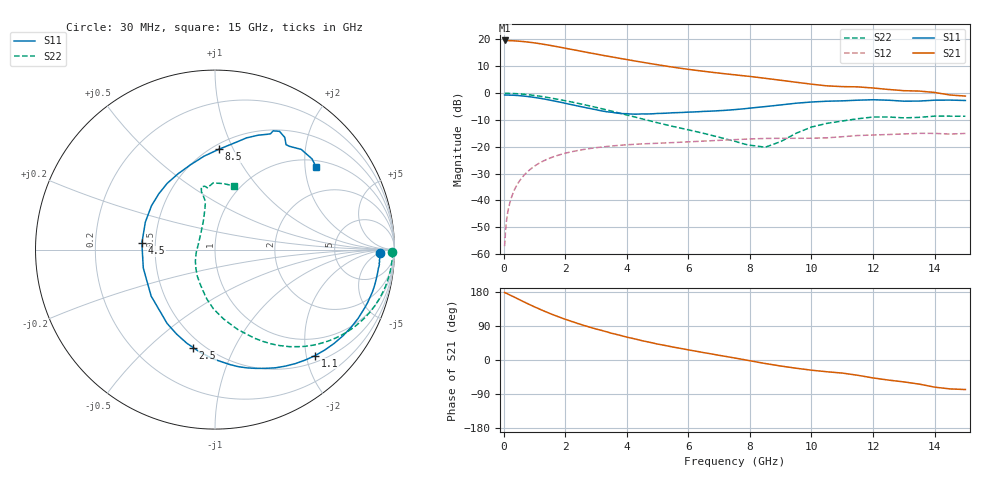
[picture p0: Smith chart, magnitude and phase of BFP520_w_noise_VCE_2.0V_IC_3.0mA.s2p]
! Infineon Technologies  Discrete & RF Semiconductors
! BFP520
! VCE =  2.0 V,  IC =  3.0 mA
! Common Emitter S-Parameters:  Oct 2015
# GHz  S  MA  R  50
!  f  S11  S21  S12  S22
! GHz  MAG  ANG  MAG  ANG  MAG  ANG  MAG  ANG
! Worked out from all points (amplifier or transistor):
!   109 points, 30 MHz to 15 GHz, reference 50 ohm
!   highest |S21| = 19.6 dB at 30 MHz (marker M1)
!   |S21| within 3 dB of that: start of sweep to 2.05 GHz
!   unconditionally stable (mu >= 1): 4.702 GHz to end of sweep
!   at 450 MHz: K = 0.08, MSG = 26.6 dB, |S12| = -33.9 dB
!   at 4 GHz: K = 0.86, MSG = 15.9 dB, |S12| = -19.3 dB
!   at 15 GHz: K = 1.51, MAG = 2.7 dB, |S12| = -15.0 dB
!   lowest NFmin = 1.02 dB at 900 MHz
!   S11 on the Smith chart (normalised r, x): 30 MHz: 22, -6; 1.1 GHz: 0.63, -2.17; 2.5 GHz: 0.44, -0.70; 4.5 GHz: 0.42, +0.04; 8.5 GHz: 0.54, +0.88; 15 GHz: 1.18, +2.30
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0.03  0.9195 -1.3  9.563 178.3  0.0014 78.8  0.9877 -0.8
0.06  0.9192 -2.5  9.48 177.0  0.0028 79.7  0.9884 -1.6
0.15  0.9165 -6.4  9.487 173.5  0.0068 84.5  0.9874 -4.1
0.5  0.8949 -21.3  9.26 159.7  0.0224 78.4  0.9668 -13.7
0.8  0.8594 -34.0  8.902 147.8  0.0353 71.8  0.9326 -21.7
1.1  0.8125 -46.6  8.448 136.7  0.0473 65.4  0.8862 -29.3
1.4  0.7588 -58.8  7.923 126.2  0.058 59.2  0.8328 -36.3
1.7  0.7005 -70.9  7.385 116.5  0.0673 53.5  0.7766 -42.8
2.2  0.6098 -90.8  6.52 101.9  0.0804 45.1  0.6827 -52.4
2.5  0.559 -102.6  6.044 94.0  0.0868 40.5  0.6279 -57.6
2.6  0.5448 -106.7  5.895 91.4  0.0889 39.1  0.6102 -59.3
3  0.4903 -123.0  5.341 81.8  0.096 33.8  0.5412 -65.9
3.5  0.44 -144.0  4.739 70.6  0.1033 27.7  0.4622 -74.2
4  0.4125 -165.5  4.218 60.3  0.1088 22.1  0.3906 -82.8
4.5  0.4091 174.9  3.762 50.8  0.1129 17.3  0.3301 -91.5
5.1  0.418 155.9  3.301 40.6  0.1167 12.6  0.2708 -100.6
6.1  0.4431 133.3  2.721 25.3  0.1241 6.1  0.2002 -115.8
7.6  0.4968 104.3  2.159 3.9  0.1363 -3.8  0.1219 -153.0
8.5  0.56 87.7  1.884 -9.3  0.1425 -10.6  0.0979 159.9
10.5  0.7047 65.7  1.363 -31.0  0.1463 -21.0  0.2723 101.3
13  0.7059 55.9  1.108 -57.8  0.1729 -37.9  0.3447 96.6
15  0.7271 39.0  0.88 -77.9  0.1769 -52.1  0.3698 73.2
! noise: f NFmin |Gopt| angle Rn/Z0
0.45  1.06  0.59  3  0.37
0.9  1.02  0.55  12  0.38
1.9  1.29  0.46  25  0.32
2.4  1.36  0.42  36  0.31
3.5  1.32  0.41  61  0.28
